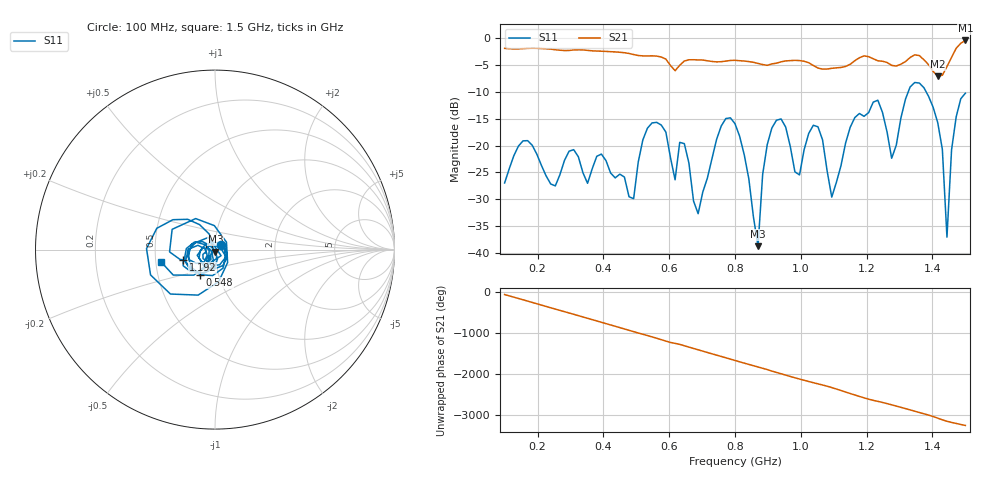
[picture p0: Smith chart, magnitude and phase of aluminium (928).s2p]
! NanoVNA-App
! Date: 2025-09-25 15:02:30
! Start: 100MHz Stop: 1,5GHz Points: 101
! S-Parameter data: F S11 S21 S12 S22
# Hz S RI R 50
!  Frequency  S11_Real  S11_Imag  S21_Real  S21_Imag  S12_Real  S12_Imag  S22_Real  S22_Imag
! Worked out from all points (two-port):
!   101 points, 100 MHz to 1.5 GHz, reference 50 ohm
!   highest |S21| = -0.45 dB at 1.5 GHz (marker M1); lowest = -7.1 dB at 1.416 GHz (marker M2)
!   |S21| within 3 dB of the highest: start of sweep to 569.4 MHz; 1.459 GHz to end of sweep (the widest 2 of 4)
!   lowest |S11| = -38.7 dB at 870 MHz (marker M3), VSWR 1.02, Z = 50.2 - j1.15 ohm
!   |S11| at or under -10 dB: start of sweep to 1.326 GHz; 1.381 GHz to end of sweep
!   S12 and S22 are empty: the file has one direction only
!   S11 on the Smith chart (normalised r, x): 100 MHz: 1.07, +0.06; 548 MHz: 0.82, -0.24; 1.192 GHz: 0.69, -0.08; 1.5 GHz: 0.54, -0.08
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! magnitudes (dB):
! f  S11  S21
! 100 MHz  -27.0  -1.9
! 156 MHz  -19.1  -2.0
! 338 MHz  -25.0  -2.2
! 492 MHz  -29.9  -3.1
! 548 MHz  -15.8  -3.3
! 576 MHz  -16.2  -3.5
! 646 MHz  -19.6  -4.3
! 688 MHz  -32.7  -4.1
! 800 MHz  -15.9  -4.1
! 870 MHz  -38.7  -4.7
! 912 MHz  -16.7  -4.8
! 996 MHz  -25.5  -4.2
! 1.038 GHz  -16.2  -5.1
! 1.094 GHz  -29.6  -5.6
! 1.192 GHz  -14.6  -3.3
! 1.234 GHz  -11.6  -4.2
! 1.276 GHz  -22.4  -5.1
! 1.346 GHz  -8.3  -3.1
! 1.416 GHz  -15.7  -7.1
! 1.444 GHz  -37.0  -5.3
! 1.458 GHz  -20.8  -3.6
! 1.5 GHz  -10.3  -0.5
